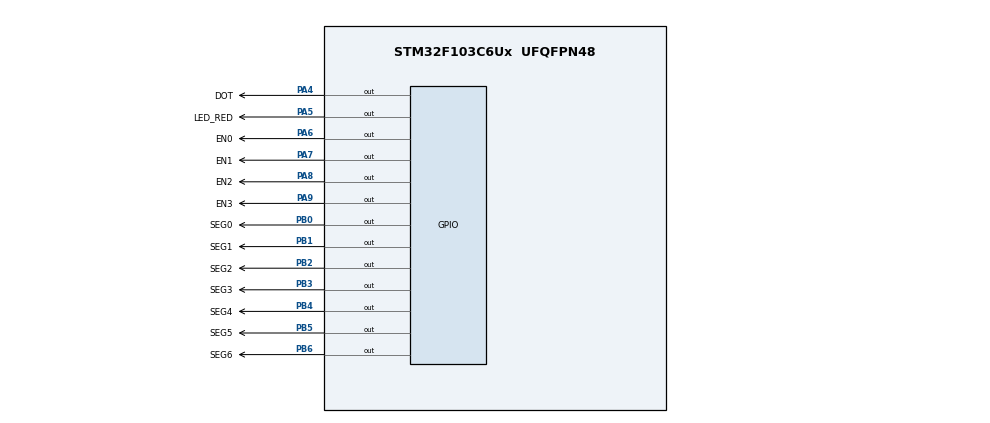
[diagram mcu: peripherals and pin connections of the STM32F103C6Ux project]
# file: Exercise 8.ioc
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Mcu.Family=STM32F1
Mcu.Name=STM32F103C6Ux
Mcu.Package=UFQFPN48
NVIC.PriorityGroup=NVIC_PRIORITYGROUP_4
NVIC.TIM2_IRQn=true\:0\:0\:false\:false\:true\:true\:true
PA4.GPIO_Label=DOT
PA4.Signal=GPIO_Output
PA5.GPIO_Label=LED_RED
PA5.Signal=GPIO_Output
PA6.GPIO_Label=EN0
PA6.Signal=GPIO_Output
PA7.GPIO_Label=EN1
PA7.Signal=GPIO_Output
PA8.GPIO_Label=EN2
PA8.Signal=GPIO_Output
PA9.GPIO_Label=EN3
PA9.Signal=GPIO_Output
PB0.GPIO_Label=SEG0
PB0.Signal=GPIO_Output
PB1.GPIO_Label=SEG1
PB1.Signal=GPIO_Output
PB2.GPIO_Label=SEG2
PB2.Signal=GPIO_Output
PB3.GPIO_Label=SEG3
PB3.Signal=GPIO_Output
PB4.GPIO_Label=SEG4
PB4.Signal=GPIO_Output
PB5.GPIO_Label=SEG5
PB5.Signal=GPIO_Output
PB6.GPIO_Label=SEG6
PB6.Signal=GPIO_Output
ProjectManager.HeapSize=0x200
ProjectManager.StackSize=0x400
ProjectManager.TargetToolchain=STM32CubeIDE
RCC.APB1Freq_Value=8000000
RCC.APB2Freq_Value=8000000
TIM2.Period=9
TIM2.Prescaler=7999
VP_SYS_VS_ND.Mode=No_Debug
VP_TIM2_VS_ClockSourceINT.Mode=Internal
board=custom

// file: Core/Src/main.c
/* USER CODE BEGIN Header */
/**
  ******************************************************************************
  * @file           : main.c
  * @brief          : Main program body
  ******************************************************************************
  * @attention
  *
  * <h2><center>&copy; Copyright (c) 2024 STMicroelectronics.
  * All rights reserved.</center></h2>
  *
  * This software component is licensed by ST under BSD 3-Clause license,
  * the "License"; You may not use this file except in compliance with the
  * License. You may obtain a copy of the License at:
  *                        opensource.org/licenses/BSD-3-Clause
  *
  ******************************************************************************
  */
/* USER CODE END Header */
#include "main.h"
#include "software_timer.h"

TIM_HandleTypeDef htim2;

void SystemClock_Config(void);
static void MX_GPIO_Init(void);
static void MX_TIM2_Init(void);

void display7SEG(int led_buffer)
{
	switch (led_buffer)
	{
		case 0:
			HAL_GPIO_WritePin(SEG0_GPIO_Port, SEG0_Pin, RESET);
			HAL_GPIO_WritePin(SEG1_GPIO_Port, SEG1_Pin, RESET);
			HAL_GPIO_WritePin(SEG2_GPIO_Port, SEG2_Pin, RESET);
			HAL_GPIO_WritePin(SEG3_GPIO_Port, SEG3_Pin, RESET);
			HAL_GPIO_WritePin(SEG4_GPIO_Port, SEG4_Pin, RESET);
			HAL_GPIO_WritePin(SEG5_GPIO_Port, SEG5_Pin, RESET);
			HAL_GPIO_WritePin(SEG6_GPIO_Port, SEG6_Pin, SET);
			break;
		case 1:
			HAL_GPIO_WritePin(SEG0_GPIO_Port, SEG0_Pin, SET);
			HAL_GPIO_WritePin(SEG1_GPIO_Port, SEG1_Pin, RESET);
			HAL_GPIO_WritePin(SEG2_GPIO_Port, SEG2_Pin, RESET);
			HAL_GPIO_WritePin(SEG3_GPIO_Port, SEG3_Pin, SET);
			HAL_GPIO_WritePin(SEG4_GPIO_Port, SEG4_Pin, SET);
			HAL_GPIO_WritePin(SEG5_GPIO_Port, SEG5_Pin, SET);
			HAL_GPIO_WritePin(SEG6_GPIO_Port, SEG6_Pin, SET);
			break;
		case 2:
			HAL_GPIO_WritePin(SEG0_GPIO_Port, SEG0_Pin, RESET);
			HAL_GPIO_WritePin(SEG1_GPIO_Port, SEG1_Pin, RESET);
			HAL_GPIO_WritePin(SEG2_GPIO_Port, SEG2_Pin, SET);
			HAL_GPIO_WritePin(SEG3_GPIO_Port, SEG3_Pin, RESET);
			HAL_GPIO_WritePin(SEG4_GPIO_Port, SEG4_Pin, RESET);
			HAL_GPIO_WritePin(SEG5_GPIO_Port, SEG5_Pin, SET);
			HAL_GPIO_WritePin(SEG6_GPIO_Port, SEG6_Pin, RESET);
			break;
		case 3:
			HAL_GPIO_WritePin(SEG0_GPIO_Port, SEG0_Pin, RESET);
			HAL_GPIO_WritePin(SEG1_GPIO_Port, SEG1_Pin, RESET);
			HAL_GPIO_WritePin(SEG2_GPIO_Port, SEG2_Pin, RESET);
			HAL_GPIO_WritePin(SEG3_GPIO_Port, SEG3_Pin, RESET);
			HAL_GPIO_WritePin(SEG4_GPIO_Port, SEG4_Pin, SET);
			HAL_GPIO_WritePin(SEG5_GPIO_Port, SEG5_Pin, SET);
			HAL_GPIO_WritePin(SEG6_GPIO_Port, SEG6_Pin, RESET);
			break;
		case 4:
			HAL_GPIO_WritePin(SEG0_GPIO_Port, SEG0_Pin, SET);
			HAL_GPIO_WritePin(SEG1_GPIO_Port, SEG1_Pin, RESET);
			HAL_GPIO_WritePin(SEG2_GPIO_Port, SEG2_Pin, RESET);
			HAL_GPIO_WritePin(SEG3_GPIO_Port, SEG3_Pin, SET);
			HAL_GPIO_WritePin(SEG4_GPIO_Port, SEG4_Pin, SET);
			HAL_GPIO_WritePin(SEG5_GPIO_Port, SEG5_Pin, RESET);
			HAL_GPIO_WritePin(SEG6_GPIO_Port, SEG6_Pin, RESET);
			break;
		case 5:
			HAL_GPIO_WritePin(SEG0_GPIO_Port, SEG0_Pin, RESET);
			HAL_GPIO_WritePin(SEG1_GPIO_Port, SEG1_Pin, SET);
			HAL_GPIO_WritePin(SEG2_GPIO_Port, SEG2_Pin, RESET);
			HAL_GPIO_WritePin(SEG3_GPIO_Port, SEG3_Pin, RESET);
			HAL_GPIO_WritePin(SEG4_GPIO_Port, SEG4_Pin, SET);
			HAL_GPIO_WritePin(SEG5_GPIO_Port, SEG5_Pin, RESET);
			HAL_GPIO_WritePin(SEG6_GPIO_Port, SEG6_Pin, RESET);
			break;
		case 6:
			HAL_GPIO_WritePin(SEG0_GPIO_Port, SEG0_Pin, RESET);
			HAL_GPIO_WritePin(SEG1_GPIO_Port, SEG1_Pin, SET);
			HAL_GPIO_WritePin(SEG2_GPIO_Port, SEG2_Pin, RESET);
			HAL_GPIO_WritePin(SEG3_GPIO_Port, SEG3_Pin, RESET);
			HAL_GPIO_WritePin(SEG4_GPIO_Port, SEG4_Pin, RESET);
			HAL_GPIO_WritePin(SEG5_GPIO_Port, SEG5_Pin, RESET);
			HAL_GPIO_WritePin(SEG6_GPIO_Port, SEG6_Pin, RESET);
			break;
		case 7:
			HAL_GPIO_WritePin(SEG0_GPIO_Port, SEG0_Pin, RESET);
			HAL_GPIO_WritePin(SEG1_GPIO_Port, SEG1_Pin, RESET);
			HAL_GPIO_WritePin(SEG2_GPIO_Port, SEG2_Pin, RESET);
			HAL_GPIO_WritePin(SEG3_GPIO_Port, SEG3_Pin, SET);
			HAL_GPIO_WritePin(SEG4_GPIO_Port, SEG4_Pin, SET);
			HAL_GPIO_WritePin(SEG5_GPIO_Port, SEG5_Pin, SET);
			HAL_GPIO_WritePin(SEG6_GPIO_Port, SEG6_Pin, SET);
			break;
		case 8:
			HAL_GPIO_WritePin(SEG0_GPIO_Port, SEG0_Pin, RESET);
			HAL_GPIO_WritePin(SEG1_GPIO_Port, SEG1_Pin, RESET);
			HAL_GPIO_WritePin(SEG2_GPIO_Port, SEG2_Pin, RESET);
			HAL_GPIO_WritePin(SEG3_GPIO_Port, SEG3_Pin, RESET);
			HAL_GPIO_WritePin(SEG4_GPIO_Port, SEG4_Pin, RESET);
			HAL_GPIO_WritePin(SEG5_GPIO_Port, SEG5_Pin, RESET);
			HAL_GPIO_WritePin(SEG6_GPIO_Port, SEG6_Pin, RESET);
			break;
		case 9:
			HAL_GPIO_WritePin(SEG0_GPIO_Port, SEG0_Pin, RESET);
			HAL_GPIO_WritePin(SEG1_GPIO_Port, SEG1_Pin, RESET);
			HAL_GPIO_WritePin(SEG2_GPIO_Port, SEG2_Pin, RESET);
			HAL_GPIO_WritePin(SEG3_GPIO_Port, SEG3_Pin, RESET);
			HAL_GPIO_WritePin(SEG4_GPIO_Port, SEG4_Pin, SET);
			HAL_GPIO_WritePin(SEG5_GPIO_Port, SEG5_Pin, RESET);
			HAL_GPIO_WritePin(SEG6_GPIO_Port, SEG6_Pin, RESET);
			break;
		default:
			break;
	}
}

void update7SEG(int num, int led_buffer[])
{
	switch(num)
	{
	case 0:
		HAL_GPIO_WritePin(EN0_GPIO_Port, EN0_Pin, RESET);
		HAL_GPIO_WritePin(EN1_GPIO_Port, EN1_Pin, SET);
		HAL_GPIO_WritePin(EN2_GPIO_Port, EN2_Pin, SET);
		HAL_GPIO_WritePin(EN3_GPIO_Port, EN3_Pin, SET);
		display7SEG(led_buffer[0]);
		break;
	case 1:
		HAL_GPIO_WritePin(EN0_GPIO_Port, EN0_Pin, SET);
		HAL_GPIO_WritePin(EN1_GPIO_Port, EN1_Pin, RESET);
		HAL_GPIO_WritePin(EN2_GPIO_Port, EN2_Pin, SET);
		HAL_GPIO_WritePin(EN3_GPIO_Port, EN3_Pin, SET);
		display7SEG(led_buffer[1]);
		break;
	case 2:
		HAL_GPIO_WritePin(EN0_GPIO_Port, EN0_Pin, SET);
		HAL_GPIO_WritePin(EN1_GPIO_Port, EN1_Pin, SET);
		HAL_GPIO_WritePin(EN2_GPIO_Port, EN2_Pin, RESET);
		HAL_GPIO_WritePin(EN3_GPIO_Port, EN3_Pin, SET);
		display7SEG(led_buffer[2]);
		break;
	case 3:
		HAL_GPIO_WritePin(EN0_GPIO_Port, EN0_Pin, SET);
		HAL_GPIO_WritePin(EN1_GPIO_Port, EN1_Pin, SET);
		HAL_GPIO_WritePin(EN2_GPIO_Port, EN2_Pin, SET);
		HAL_GPIO_WritePin(EN3_GPIO_Port, EN3_Pin, RESET);
		display7SEG(led_buffer[3]);
		break;
	default:
		break;
	}
}

void updateClockBuffer(int hour, int minute, int led_buffer[])
{
	if( hour >= 0 && hour <= 9)
	{
		led_buffer[0] = 0;
		led_buffer[1] = hour;
	}
	else
	{
		led_buffer[0] = hour / 10;
		led_buffer[1] = hour % 10;
	}

	if(minute >= 0 && minute <= 9)
	{
		led_buffer[2] = 0;
		led_buffer[3] = minute;
	}
	else
	{
		led_buffer[2] = minute / 10;
		led_buffer[3] = minute % 10;
	}
}
int main(void)
{

  /* MCU Configuration--------------------------------------------------------*/

  /* Reset of all peripherals, Initializes the Flash interface and the Systick. */
  HAL_Init();

  /* Configure the system clock */
  SystemClock_Config();

  /* Initialize all configured peripherals */
  MX_GPIO_Init();
  MX_TIM2_Init();
  HAL_TIM_Base_Start_IT(&htim2);

  /* Infinite loop */
  /* USER CODE BEGIN WHILE */
  int hour = 18, minute = 40, second = 30;
  int counter = 0;
  int led_buffer [4] = {1, 2, 3, 4};
  setTimer0 (100);
  setTimer1 (100);
  setTimer2 (200);

  while (1)
  {
	  if(timer0_flag == 1)
	  {
		  setTimer0(100);
		  HAL_GPIO_TogglePin(LED_RED_GPIO_Port, LED_RED_Pin);
	  }

	 if(timer1_flag == 1)
	 {
		 setTimer1(100);
		 updateClockBuffer(hour, minute, led_buffer);
		 second++;
		 if(second >= 60)
		 {
			 minute++;
			 second = 0;
		 }
		 if(minute >= 60)
		 {
			 hour++;
			 minute = 0;
		 }
		 if(hour >= 24)
		 {
			 hour = 0;
		 }
		 HAL_GPIO_TogglePin(DOT_GPIO_Port, DOT_Pin);
	  }

	 if(timer2_flag == 1)
	 {
		 setTimer2(200);
		 update7SEG(counter, led_buffer);

		 counter++;
		 if(counter > 3)
		 {
			 counter = 0;
		 }
	 }
    /* USER CODE END WHILE */

  }
}

void SystemClock_Config(void)
{
  RCC_OscInitTypeDef RCC_OscInitStruct = {0};
  RCC_ClkInitTypeDef RCC_ClkInitStruct = {0};

  /** Initializes the RCC Oscillators according to the specified parameters
  * in the RCC_OscInitTypeDef structure.
  */
  RCC_OscInitStruct.OscillatorType = RCC_OSCILLATORTYPE_HSI;
  RCC_OscInitStruct.HSIState = RCC_HSI_ON;
  RCC_OscInitStruct.HSICalibrationValue = RCC_HSICALIBRATION_DEFAULT;
  RCC_OscInitStruct.PLL.PLLState = RCC_PLL_NONE;
  if (HAL_RCC_OscConfig(&RCC_OscInitStruct) != HAL_OK)
  {
    Error_Handler();
  }
  /** Initializes the CPU, AHB and APB buses clocks
  */
  RCC_ClkInitStruct.ClockType = RCC_CLOCKTYPE_HCLK|RCC_CLOCKTYPE_SYSCLK
                              |RCC_CLOCKTYPE_PCLK1|RCC_CLOCKTYPE_PCLK2;
  RCC_ClkInitStruct.SYSCLKSource = RCC_SYSCLKSOURCE_HSI;
  RCC_ClkInitStruct.AHBCLKDivider = RCC_SYSCLK_DIV1;
  RCC_ClkInitStruct.APB1CLKDivider = RCC_HCLK_DIV1;
  RCC_ClkInitStruct.APB2CLKDivider = RCC_HCLK_DIV1;

  if (HAL_RCC_ClockConfig(&RCC_ClkInitStruct, FLASH_LATENCY_0) != HAL_OK)
  {
    Error_Handler();
  }
}

static void MX_TIM2_Init(void)
{

  TIM_ClockConfigTypeDef sClockSourceConfig = {0};
  TIM_MasterConfigTypeDef sMasterConfig = {0};

  htim2.Instance = TIM2;
  htim2.Init.Prescaler = 7999;
  htim2.Init.CounterMode = TIM_COUNTERMODE_UP;
  htim2.Init.Period = 9;
  htim2.Init.ClockDivision = TIM_CLOCKDIVISION_DIV1;
  htim2.Init.AutoReloadPreload = TIM_AUTORELOAD_PRELOAD_DISABLE;
  if (HAL_TIM_Base_Init(&htim2) != HAL_OK)
  {
    Error_Handler();
  }
  sClockSourceConfig.ClockSource = TIM_CLOCKSOURCE_INTERNAL;
  if (HAL_TIM_ConfigClockSource(&htim2, &sClockSourceConfig) != HAL_OK)
  {
    Error_Handler();
  }
  sMasterConfig.MasterOutputTrigger = TIM_TRGO_RESET;
  sMasterConfig.MasterSlaveMode = TIM_MASTERSLAVEMODE_DISABLE;
  if (HAL_TIMEx_MasterConfigSynchronization(&htim2, &sMasterConfig) != HAL_OK)
  {
    Error_Handler();
  }

}

static void MX_GPIO_Init(void)
{
  GPIO_InitTypeDef GPIO_InitStruct = {0};

  /* GPIO Ports Clock Enable */
  __HAL_RCC_GPIOA_CLK_ENABLE();
  __HAL_RCC_GPIOB_CLK_ENABLE();

  /*Configure GPIO pin Output Level */
  HAL_GPIO_WritePin(GPIOA, DOT_Pin|LED_RED_Pin|EN0_Pin|EN1_Pin
                          |EN2_Pin|EN3_Pin, GPIO_PIN_RESET);

  /*Configure GPIO pin Output Level */
  HAL_GPIO_WritePin(GPIOB, SEG0_Pin|SEG1_Pin|SEG2_Pin|SEG3_Pin
                          |SEG4_Pin|SEG5_Pin|SEG6_Pin, GPIO_PIN_RESET);

  /*Configure GPIO pins : DOT_Pin LED_RED_Pin EN0_Pin EN1_Pin
                           EN2_Pin EN3_Pin */
  GPIO_InitStruct.Pin = DOT_Pin|LED_RED_Pin|EN0_Pin|EN1_Pin
                          |EN2_Pin|EN3_Pin;
  GPIO_InitStruct.Mode = GPIO_MODE_OUTPUT_PP;
  GPIO_InitStruct.Pull = GPIO_NOPULL;
  GPIO_InitStruct.Speed = GPIO_SPEED_FREQ_LOW;
  HAL_GPIO_Init(GPIOA, &GPIO_InitStruct);

  /*Configure GPIO pins : SEG0_Pin SEG1_Pin SEG2_Pin SEG3_Pin
                           SEG4_Pin SEG5_Pin SEG6_Pin */
  GPIO_InitStruct.Pin = SEG0_Pin|SEG1_Pin|SEG2_Pin|SEG3_Pin
                          |SEG4_Pin|SEG5_Pin|SEG6_Pin;
  GPIO_InitStruct.Mode = GPIO_MODE_OUTPUT_PP;
  GPIO_InitStruct.Pull = GPIO_NOPULL;
  GPIO_InitStruct.Speed = GPIO_SPEED_FREQ_LOW;
  HAL_GPIO_Init(GPIOB, &GPIO_InitStruct);

}

/* USER CODE BEGIN 4 */
void HAL_TIM_PeriodElapsedCallback (TIM_HandleTypeDef *him)
{
	timerRun0();
	timerRun1();
	timerRun2();
}
/* USER CODE END 4 */

void Error_Handler(void)
{
  __disable_irq();
  while (1)
  {
  }
}

/************************ (C) COPYRIGHT STMicroelectronics *****END OF FILE****/
